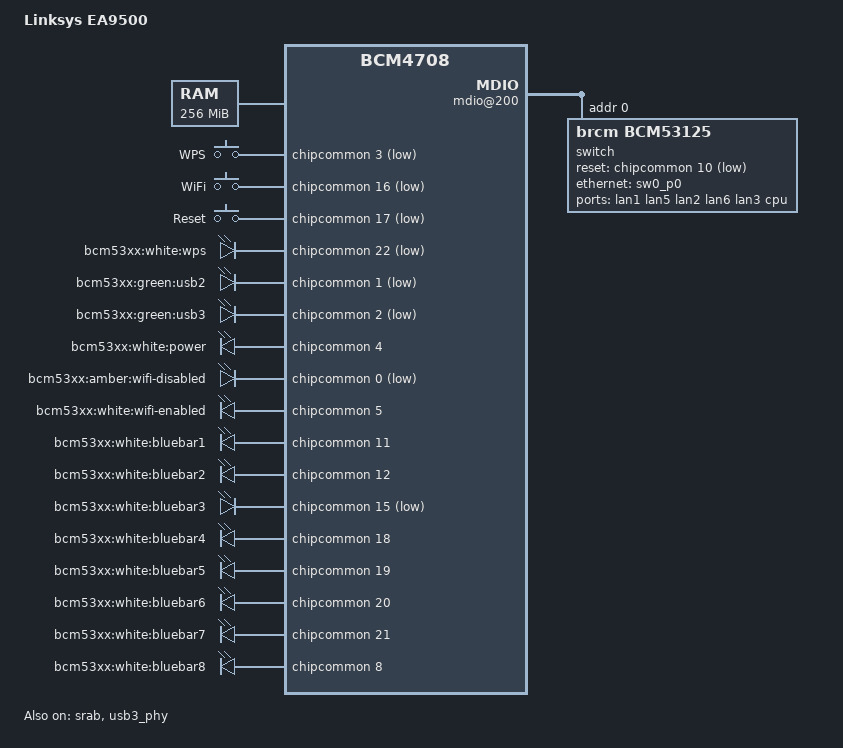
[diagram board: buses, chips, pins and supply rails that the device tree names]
// SPDX-License-Identifier: GPL-2.0-or-later OR MIT
/*
 * Copyright (C) 2017 Rafał Miłecki <rafal@milecki.pl>
 */

/dts-v1/;

#include "bcm47094.dtsi"
#include "bcm5301x-nand-cs0-bch8.dtsi"

/ {
	compatible = "linksys,panamera", "brcm,bcm47094", "brcm,bcm4708";
	model = "Linksys EA9500";

	chosen {
		bootargs = "console=ttyS0,115200";
	};

	memory@0 {
		device_type = "memory";
		reg = <0x00000000 0x08000000
		       0x88000000 0x08000000>;
	};

	gpio-keys {
		compatible = "gpio-keys";

		wps {
			label = "WPS";
			linux,code = <KEY_WPS_BUTTON>;
			gpios = <&chipcommon 3 GPIO_ACTIVE_LOW>;
		};

		rfkill {
				label = "WiFi";
				linux,code = <KEY_RFKILL>;
				gpios = <&chipcommon 16 GPIO_ACTIVE_LOW>;
		};

		reset {
				label = "Reset";
				linux,code = <KEY_RESTART>;
				gpios = <&chipcommon 17 GPIO_ACTIVE_LOW>;
		};
	};

	leds {
		compatible = "gpio-leds";

		wps {
			label = "bcm53xx:white:wps";
			gpios = <&chipcommon 22 GPIO_ACTIVE_LOW>;
		};

		usb2 {
			label = "bcm53xx:green:usb2";
			gpios = <&chipcommon 1 GPIO_ACTIVE_LOW>;
			trigger-sources = <&ohci_port2>, <&ehci_port2>;
			linux,default-trigger = "usbport";
		};

		usb3 {
			label = "bcm53xx:green:usb3";
			gpios = <&chipcommon 2 GPIO_ACTIVE_LOW>;
			trigger-sources = <&ohci_port1>, <&ehci_port1>,
					  <&xhci_port1>;
			linux,default-trigger = "usbport";
		};

		power {
			label = "bcm53xx:white:power";
			gpios = <&chipcommon 4 GPIO_ACTIVE_HIGH>;
		};

		wifi-disabled {
			label = "bcm53xx:amber:wifi-disabled";
			gpios = <&chipcommon 0 GPIO_ACTIVE_LOW>;
		};

		wifi-enabled {
			label = "bcm53xx:white:wifi-enabled";
			gpios = <&chipcommon 5 GPIO_ACTIVE_HIGH>;
		};

		bluebar1 {
			label = "bcm53xx:white:bluebar1";
			gpios = <&chipcommon 11 GPIO_ACTIVE_HIGH>;
		};

		bluebar2 {
			label = "bcm53xx:white:bluebar2";
			gpios = <&chipcommon 12 GPIO_ACTIVE_HIGH>;
		};

		bluebar3 {
			label = "bcm53xx:white:bluebar3";
			gpios = <&chipcommon 15 GPIO_ACTIVE_LOW>;
		};

		bluebar4 {
			label = "bcm53xx:white:bluebar4";
			gpios = <&chipcommon 18 GPIO_ACTIVE_HIGH>;
		};

		bluebar5 {
			label = "bcm53xx:white:bluebar5";
			gpios = <&chipcommon 19 GPIO_ACTIVE_HIGH>;
		};

		bluebar6 {
			label = "bcm53xx:white:bluebar6";
			gpios = <&chipcommon 20 GPIO_ACTIVE_HIGH>;
		};

		bluebar7 {
			label = "bcm53xx:white:bluebar7";
			gpios = <&chipcommon 21 GPIO_ACTIVE_HIGH>;
		};

		bluebar8 {
			label = "bcm53xx:white:bluebar8";
			gpios = <&chipcommon 8 GPIO_ACTIVE_HIGH>;
		};
	};

	mdio-bus-mux@18003000 {

		/* BIT(9) = 1 => external mdio */
		mdio@200 {
			reg = <0x200>;
			#address-cells = <1>;
			#size-cells = <0>;

			switch@0  {
				compatible = "brcm,bcm53125";
				#address-cells = <1>;
				#size-cells = <0>;
				reset-gpios = <&chipcommon 10 GPIO_ACTIVE_LOW>;
				reset-names = "robo_reset";
				reg = <0>;
				dsa,member = <1 0>;
				pinctrl-names = "default";
				pinctrl-0 = <&pinmux_mdio>;

				ports {
					#address-cells = <1>;
					#size-cells = <0>;

					port@0 {
						reg = <0>;
						label = "lan1";
					};

					port@1 {
						reg = <1>;
						label = "lan5";
					};

					port@2 {
						reg = <2>;
						label = "lan2";
					};

					port@3 {
						reg = <3>;
						label = "lan6";
					};

					port@4 {
						reg = <4>;
						label = "lan3";
					};

					sw1_p8: port@8 {
						reg = <8>;
						ethernet = <&sw0_p0>;
						label = "cpu";

						fixed-link {
							speed = <1000>;
							full-duplex;
						};
					};
				};
			};
		};
	};
};

&usb2 {
	vcc-gpio = <&chipcommon 13 GPIO_ACTIVE_HIGH>;
};

&usb3 {
	vcc-gpio = <&chipcommon 14 GPIO_ACTIVE_HIGH>;
};

&srab {
	compatible = "brcm,bcm53012-srab", "brcm,bcm5301x-srab";
	status = "okay";
	dsa,member = <0 0>;

	ports {
		port@1 {
			reg = <1>;
			label = "lan7";
		};

		port@2 {
			reg = <2>;
			label = "lan4";
		};

		port@3 {
			reg = <3>;
			label = "lan8";
		};

		port@4 {
			reg = <4>;
			label = "wan";
		};

		port@5 {
			reg = <5>;
			ethernet = <&gmac0>;
			label = "cpu";
			status = "disabled";

			fixed-link {
				speed = <1000>;
				full-duplex;
			};
		};

		port@7 {
			reg = <7>;
			ethernet = <&gmac1>;
			label = "cpu";
			status = "disabled";

			fixed-link {
				speed = <1000>;
				full-duplex;
			};
		};

		port@8 {
			reg = <8>;
			ethernet = <&gmac2>;
			label = "cpu";

			fixed-link {
				speed = <1000>;
				full-duplex;
			};
		};

		sw0_p0: port@0 {
			reg = <0>;
			label = "extsw";

			fixed-link {
				speed = <1000>;
				full-duplex;
			};
		};
	};
};

&usb3_phy {
	status = "okay";
};

&nandcs {
	partitions {
		compatible = "fixed-partitions";
		#address-cells = <1>;
		#size-cells = <1>;

		partition@0 {
			label = "boot";
			reg = <0x0000000 0x0080000>;
			read-only;
		};

		partition@80000 {
			label = "nvram";
			reg = <0x080000 0x0100000>;
		};

		partition@180000{
			label = "devinfo";
			reg = <0x0180000 0x080000>;
		};

		partition@200000 {
			label = "firmware";
			reg = <0x0200000 0x01D00000>;
			compatible = "brcm,trx";
		};

		partition@1F00000 {
			label = "failsafe";
			reg = <0x01F00000 0x01D00000>;
			read-only;
		};

		partition@5200000 {
			label = "system";
			reg = <0x05200000 0x02E00000>;
		};
	};
};
